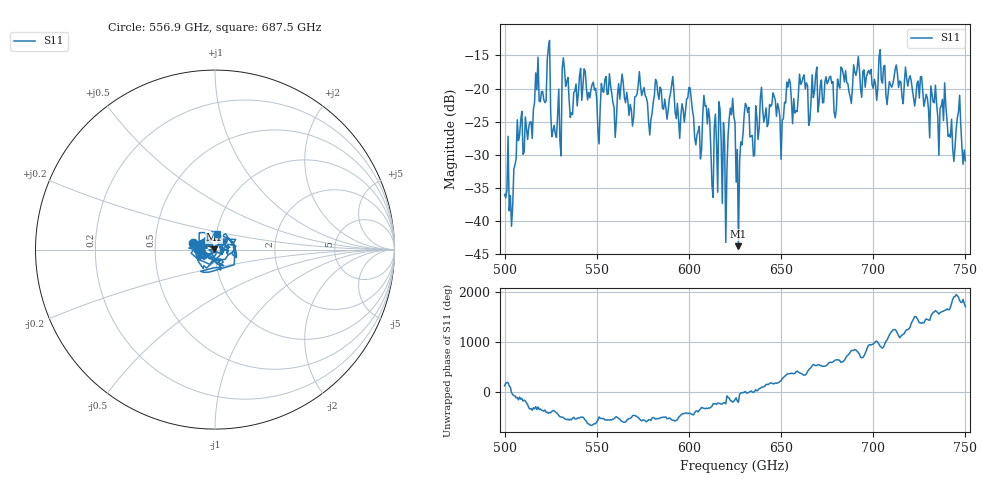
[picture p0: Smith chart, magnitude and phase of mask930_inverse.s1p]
!Created with skrf (http://scikit-rf.org).
# GHz S MA R 50.0
!freq magS11 angS11
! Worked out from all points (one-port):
!   401 points, 500 GHz to 750 GHz, reference 50 ohm
!   lowest |S11| = -43.8 dB at 626.9 GHz (marker M1), VSWR 1.01, Z = 49.4 + j0.233 ohm
!   |S11| at or under -10 dB: start of sweep to end of sweep
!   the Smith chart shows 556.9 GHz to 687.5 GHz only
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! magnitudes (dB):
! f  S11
! 500 GHz  -36.0
! 503.8 GHz  -40.8
! 508.1 GHz  -27.1
! 513.8 GHz  -25.1
! 516.9 GHz  -17.6
! 523.8 GHz  -13.8
! 526.9 GHz  -25.6
! 531.2 GHz  -16.9
! 562.5 GHz  -21.6
! 593.8 GHz  -22.2
! 600 GHz  -19.8
! 605.6 GHz  -25.7
! 609.4 GHz  -22.6
! 612.5 GHz  -34.6
! 617.5 GHz  -28.1
! 619.4 GHz  -28.2
! 622.5 GHz  -23.0
! 625 GHz  -25.2
! 626.9 GHz  -43.8
! 631.2 GHz  -22.6
! 634.4 GHz  -27.1
! 640 GHz  -23.1
! 656.2 GHz  -25.3
! 687.5 GHz  -21.2
! 718.8 GHz  -19.6
! 743.1 GHz  -29.1
! 746.2 GHz  -23.5
! 750 GHz  -30.9
